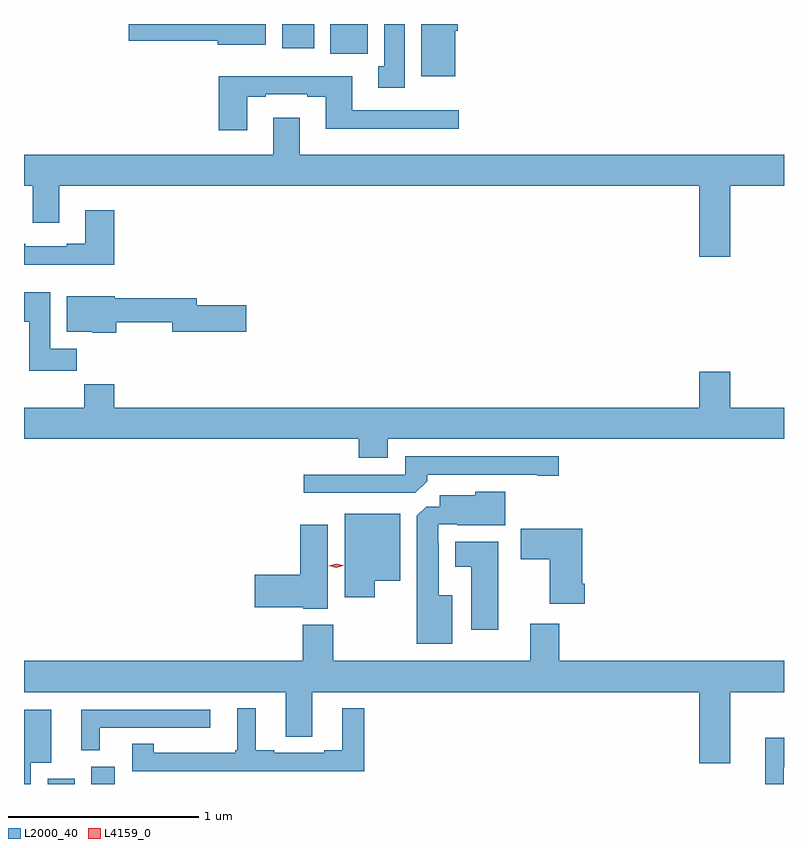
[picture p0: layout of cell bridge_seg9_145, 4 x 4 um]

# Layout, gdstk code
import gdstk
lib = gdstk.Library(unit=1e-6, precision=1e-09)
def R(c, l, rs):  # rectangles x0, y0, x1, y1
    for r in rs: c.add(gdstk.rectangle(r[:2], r[2:], *l))
def P(c, l, *ps):  # polygons
    for p in ps: c.add(gdstk.Polygon(p, *l))
L2000_40 = (2000, 40)
L4159_0 = (4159, 0)

bridge_seg9_145 = lib.new_cell('bridge_seg9_145')
R(bridge_seg9_145, L2000_40, [(581.159,1169.296,581.302,1169.323), (581.39,1169.296,581.512,1169.388), (582.647,1173.14,582.844,1173.296), (582.395,1173.168,582.562,1173.296)])
P(bridge_seg9_145, L2000_40, [(583.306,1173.26),(583.319,1173.26),(583.319,1173.296),(583.127,1173.296),(583.127,1173.02),(583.306,1173.02)],
  [(582.307,1173.296),(581.586,1173.296),(581.586,1173.209),(582.056,1173.209),(582.056,1173.188),(582.307,1173.188)],
  [(583.039,1173.296),(582.932,1173.296),(582.932,1173.074),(582.899,1173.074),(582.899,1172.961),(583.039,1172.961)],
  [(582.211,1172.913),(582.307,1172.913),(582.307,1172.925),(582.527,1172.925),(582.527,1172.913),(582.623,1172.913),(582.623,1172.744),(583.324,1172.744),(583.324,1172.841),(582.763,1172.841),(582.763,1173.022),(582.059,1173.022),(582.059,1172.736),(582.211,1172.736)],
  [(584.752,1172.444),(585.035,1172.444),(585.035,1172.608),(582.487,1172.608),(582.487,1172.803),(582.347,1172.803),(582.347,1172.608),(581.035,1172.608),(581.035,1172.444),(581.081,1172.444),(581.081,1172.25),(581.221,1172.25),(581.221,1172.444),(584.588,1172.444),(584.588,1172.07),(584.752,1172.07)],
  [(581.51,1172.317),(581.357,1172.317),(581.357,1172.14),(581.261,1172.14),(581.261,1172.127),(581.041,1172.127),(581.041,1172.14),(581.035,1172.14),(581.035,1172.03),(581.51,1172.03)],
  [(581.312,1171.588),(581.173,1171.588),(581.173,1171.885),(581.035,1171.885),(581.035,1171.729),(581.063,1171.729),(581.063,1171.47),(581.312,1171.47)],
  [(581.52,1171.725),(581.816,1171.725),(581.816,1171.675),(582.205,1171.675),(582.205,1171.817),(581.944,1171.817),(581.944,1171.853),(581.512,1171.853),(581.512,1171.864),(581.261,1171.864),(581.261,1171.676),(581.394,1171.676),(581.394,1171.67),(581.52,1171.67)],
  [(582.949,1171.112),(585.035,1171.112),(585.035,1171.276),(584.752,1171.276),(584.752,1171.465),(584.588,1171.465),(584.588,1171.276),(581.51,1171.276),(581.51,1171.4),(581.353,1171.4),(581.353,1171.276),(581.035,1171.276),(581.035,1171.112),(582.797,1171.112),(582.797,1171.013),(582.949,1171.013)],
  [(583.157,1170.89),(583.157,1170.924),(583.736,1170.924),(583.736,1170.919),(583.849,1170.919),(583.849,1171.02),(583.041,1171.02),(583.041,1170.924),(582.507,1170.924),(582.507,1170.828),(583.095,1170.828)],
  [(583.288,1170.289),(583.219,1170.289),(583.219,1170.563),(583.215,1170.563),(583.215,1170.663),(583.315,1170.663),(583.315,1170.659),(583.567,1170.659),(583.567,1170.835),(583.41,1170.835),(583.41,1170.817),(583.223,1170.817),(583.223,1170.756),(583.152,1170.756),(583.103,1170.707),(583.103,1170.035),(583.288,1170.035)],
  [(582.88,1170.365),(583.015,1170.365),(583.015,1170.718),(582.722,1170.718),(582.722,1170.279),(582.88,1170.279)],
  [(582.634,1170.661),(582.488,1170.661),(582.488,1170.398),(582.249,1170.398),(582.249,1170.227),(582.504,1170.227),(582.504,1170.218),(582.634,1170.218)],
  [(583.985,1170.349),(583.972,1170.349),(583.972,1170.64),(583.65,1170.64),(583.65,1170.478),(583.802,1170.478),(583.802,1170.245),(583.985,1170.245)],
  [(583.531,1170.571),(583.304,1170.571),(583.304,1170.44),(583.388,1170.44),(583.388,1170.108),(583.531,1170.108)],
  [(584.752,1169.78),(585.035,1169.78),(585.035,1169.944),(583.853,1169.944),(583.853,1170.139),(583.7,1170.139),(583.7,1169.944),(582.663,1169.944),(582.663,1170.133),(582.503,1170.133),(582.503,1169.944),(581.035,1169.944),(581.035,1169.78),(582.413,1169.78),(582.413,1169.545),(582.553,1169.545),(582.553,1169.78),(584.588,1169.78),(584.588,1169.406),(584.752,1169.406)],
  [(582.052,1169.364),(582.827,1169.364),(582.827,1169.695),(582.71,1169.695),(582.71,1169.473),(582.614,1169.473),(582.614,1169.46),(582.352,1169.46),(582.352,1169.473),(582.256,1169.473),(582.256,1169.695),(582.158,1169.695),(582.158,1169.473),(582.147,1169.473),(582.147,1169.461),(581.717,1169.461),(581.717,1169.507),(581.604,1169.507),(581.604,1169.363),(582.052,1169.363)],
  [(581.434,1169.592),(582.016,1169.592),(582.016,1169.688),(581.336,1169.688),(581.336,1169.473),(581.434,1169.473)],
  [(581.07,1169.408),(581.179,1169.408),(581.179,1169.686),(581.035,1169.686),(581.035,1169.296),(581.07,1169.296)],
  [(585.033,1169.383),(585.035,1169.383),(585.035,1169.539),(584.936,1169.539),(584.936,1169.296),(585.033,1169.296)])
P(bridge_seg9_145, L4159_0, [(582.678,1170.435),(582.64,1170.444),(582.64,1170.444),(582.64,1170.444),(582.678,1170.455),(582.716,1170.447),(582.716,1170.446),(582.716,1170.446)])

lib.write_gds('bridge_seg9_145.gds')
